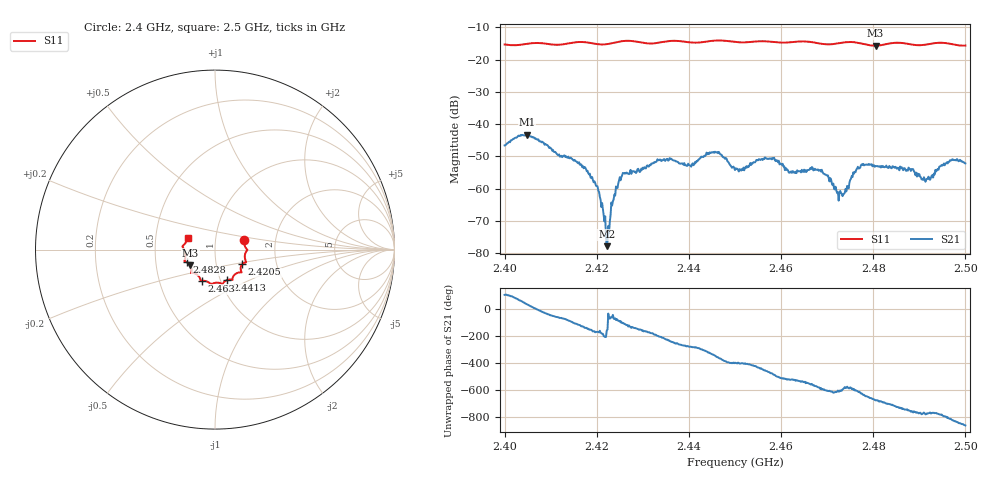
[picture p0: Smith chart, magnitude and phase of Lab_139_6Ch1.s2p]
# Hz S RI R 50
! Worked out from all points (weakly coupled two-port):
!   601 points, 2.4 GHz to 2.5 GHz, reference 50 ohm
!   highest |S21| = -43.29 dB at 2.4048 GHz (marker M1); lowest = -77.8 dB at 2.4222 GHz (marker M2)
!   lowest |S11| = -15.7 dB at 2.4805 GHz (marker M3), VSWR 1.39, Z = 37.3 - j6.68 ohm
!   |S11| at or under -10 dB: start of sweep to end of sweep
!   S12 and S22 are empty: the file has one direction only
!   S11 on the Smith chart (normalised r, x): 2.4 GHz: 1.38, +0.15; 2.4205 GHz: 1.34, -0.22; 2.4413 GHz: 1.08, -0.38; 2.463 GHz: 0.82, -0.29; 2.4828 GHz: 0.72, -0.10; 2.5 GHz: 0.73, +0.10
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2.4e9  0.1631 0.0524  -0.00126 0.00449  0 0  0 0
2.404833e9  0.1752 0.00481  0.00549 0.00409  0 0  0 0
2.416667e9  0.1735 -0.0698  -0.00143 -0.00187  0 0  0 0
2.4205e9  0.152 -0.081  -0.000878 -0.000116  0 0  0 0
2.422167e9  0.1438 -0.0962  -0.000119 -4.73e-05  0 0  0 0
2.423667e9  0.1432 -0.1116  0.000239 -0.000642  0 0  0 0
2.425333e9  0.1468 -0.1233  -0.000268 -0.00147  0 0  0 0
2.433333e9  0.1005 -0.1515  -0.00261 0.000868  0 0  0 0
2.441333e9  0.0676 -0.1696  0.000634 0.00251  0 0  0 0
2.446e9  0.0418 -0.1926  0.00361 0.000445  0 0  0 0
2.45e9  0.0247 -0.1856  0.00157 -0.00115  0 0  0 0
2.458e9  -0.0305 -0.1856  -0.00119 -0.00258  0 0  0 0
2.463e9  -0.072 -0.1736  -0.00169 -0.000462  0 0  0 0
2.466667e9  -0.0815 -0.1674  -0.0021 0.000489  0 0  0 0
2.473e9  -0.1262 -0.13  -0.000386 0.000767  0 0  0 0
2.477e9  -0.1313 -0.123  -0.000658 0.00195  0 0  0 0
2.4805e9  -0.1385 -0.0871  0.00158 0.00159  0 0  0 0
2.482833e9  -0.1585 -0.0701  0.0021 0.000874  0 0  0 0
2.483333e9  -0.1625 -0.0682  0.00198 0.000676  0 0  0 0
2.491e9  -0.1683 -0.00962  0.00106 -0.00106  0 0  0 0
2.496833e9  -0.1722 0.028  -5.36e-05 -0.00273  0 0  0 0
2.5e9  -0.152 0.0638  -0.00189 -0.00156  0 0  0 0
